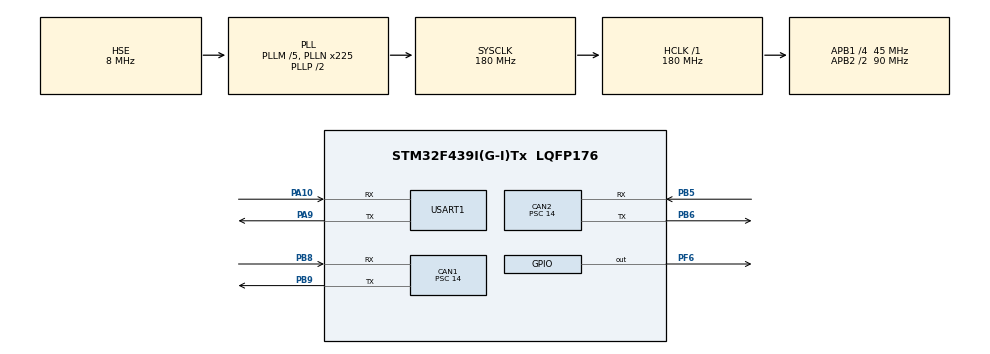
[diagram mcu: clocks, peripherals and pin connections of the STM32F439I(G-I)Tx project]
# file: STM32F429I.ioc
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CAN1.BS1=CAN_BS1_6TQ
CAN1.BS2=CAN_BS2_8TQ
CAN1.CalculateTimeBit=4666
CAN1.CalculateTimeQuantum=311.1111111111111
CAN1.Prescaler=14
CAN2.BS1=CAN_BS1_6TQ
CAN2.BS2=CAN_BS2_8TQ
CAN2.CalculateTimeBit=4666
CAN2.CalculateTimeQuantum=311.1111111111111
CAN2.Prescaler=14
Mcu.Family=STM32F4
Mcu.Name=STM32F439I(G-I)Tx
Mcu.Package=LQFP176
NVIC.PriorityGroup=NVIC_PRIORITYGROUP_4
PA10.Mode=Asynchronous
PA10.Signal=USART1_RX
PA9.Mode=Asynchronous
PA9.Signal=USART1_TX
PB5.Mode=Slave
PB5.Signal=CAN2_RX
PB6.Mode=Slave
PB6.Signal=CAN2_TX
PB8.Mode=Master
PB8.Signal=CAN1_RX
PB9.Mode=Master
PB9.Signal=CAN1_TX
PF6.Signal=GPIO_Output
PH0/OSC_IN.Mode=HSE-External-Oscillator
PH0/OSC_IN.Signal=RCC_OSC_IN
PH1/OSC_OUT.Mode=HSE-External-Oscillator
PH1/OSC_OUT.Signal=RCC_OSC_OUT
ProjectManager.TargetToolchain=MDK-ARM V5
RCC.48MHZClocksFreq_Value=90000000
RCC.AHBFreq_Value=180000000
RCC.APB1CLKDivider=RCC_HCLK_DIV4
RCC.APB1Freq_Value=45000000
RCC.APB1TimFreq_Value=90000000
RCC.APB2CLKDivider=RCC_HCLK_DIV2
RCC.APB2Freq_Value=90000000
RCC.APB2TimFreq_Value=180000000
RCC.CortexFreq_Value=180000000
RCC.HCLKFreq_Value=180000000
RCC.HSE_VALUE=8000000
RCC.HSI_VALUE=16000000
RCC.LSE_VALUE=32768
RCC.PLLM=5
RCC.PLLN=225
RCC.PLLSourceVirtual=RCC_PLLSOURCE_HSE
RCC.SYSCLKFreq_VALUE=180000000
RCC.SYSCLKSource=RCC_SYSCLKSOURCE_PLLCLK
RCC.VCOOutputFreq_Value=360000000
board=STM32F429I

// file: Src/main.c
/**
  ******************************************************************************
  * File Name          : main.c
  * Description        : Main program body
  ******************************************************************************
  *
  * COPYRIGHT(c) 2016 STMicroelectronics
  *
  * Redistribution and use in source and binary forms, with or without modification,
  * are permitted provided that the following conditions are met:
  *   1. Redistributions of source code must retain the above copyright notice,
  *      this list of conditions and the following disclaimer.
  *   2. Redistributions in binary form must reproduce the above copyright notice,
  *      this list of conditions and the following disclaimer in the documentation
  *      and/or other materials provided with the distribution.
  *   3. Neither the name of STMicroelectronics nor the names of its contributors
  *      may be used to endorse or promote products derived from this software
  *      without specific prior written permission.
  *
  * THIS SOFTWARE IS PROVIDED BY THE COPYRIGHT HOLDERS AND CONTRIBUTORS "AS IS"
  * AND ANY EXPRESS OR IMPLIED WARRANTIES, INCLUDING, BUT NOT LIMITED TO, THE
  * IMPLIED WARRANTIES OF MERCHANTABILITY AND FITNESS FOR A PARTICULAR PURPOSE ARE
  * DISCLAIMED. IN NO EVENT SHALL THE COPYRIGHT HOLDER OR CONTRIBUTORS BE LIABLE
  * FOR ANY DIRECT, INDIRECT, INCIDENTAL, SPECIAL, EXEMPLARY, OR CONSEQUENTIAL
  * DAMAGES (INCLUDING, BUT NOT LIMITED TO, PROCUREMENT OF SUBSTITUTE GOODS OR
  * SERVICES; LOSS OF USE, DATA, OR PROFITS; OR BUSINESS INTERRUPTION) HOWEVER
  * CAUSED AND ON ANY THEORY OF LIABILITY, WHETHER IN CONTRACT, STRICT LIABILITY,
  * OR TORT (INCLUDING NEGLIGENCE OR OTHERWISE) ARISING IN ANY WAY OUT OF THE USE
  * OF THIS SOFTWARE, EVEN IF ADVISED OF THE POSSIBILITY OF SUCH DAMAGE.
  *
  ******************************************************************************
  */
#include "stm32f4xx_hal.h"
#include "can.h"
#include "usart.h"
#include "gpio.h"

/* USER CODE BEGIN PV */
/* Private variables ---------------------------------------------------------*/
CAN_FilterConfTypeDef  sFilterConfig;
static CanTxMsgTypeDef        TxMessage;
static CanRxMsgTypeDef        RxMessage;
/* USER CODE END PV */

void SystemClock_Config(void);

/* USER CODE BEGIN PFP */
/* Private function prototypes -----------------------------------------------*/
static void Error_Handler(void);
/* USER CODE END PFP */

/* USER CODE BEGIN 0 */
/**
  * @brief  Retargets the C library printf function to the USART.
  * @param  None
  * @retval None
  */
int fputc(int ch, FILE *f)
{
  /* write a character to the uart1 and Loop until the end of transmission */
  HAL_UART_Transmit(&huart1, (uint8_t *)&ch, 1, 0xFFFF);

  return ch;
}

/* USER CODE END 0 */

int main(void)
{

  /* MCU Configuration----------------------------------------------------------*/

  /* Reset of all peripherals, Initializes the Flash interface and the Systick. */
  HAL_Init();

  /* Configure the system clock */
  SystemClock_Config();

  /* Initialize all configured peripherals */
  MX_GPIO_Init();
  MX_CAN1_Init();
  MX_CAN2_Init();
  MX_USART1_UART_Init();

  /* USER CODE BEGIN 2 */
	hcan2.pTxMsg = &TxMessage;
  hcan1.pRxMsg = &RxMessage;

	printf("**** This is CAN test program ****\r\n\r\n");

	/*##-1- Configure CAN2 Transmission Massage #####################################*/
	hcan2.pTxMsg->StdId = 0x123;
	hcan2.pTxMsg->RTR = CAN_RTR_DATA;
	hcan2.pTxMsg->IDE = CAN_ID_STD;
	hcan2.pTxMsg->DLC = 8;
	hcan2.pTxMsg->Data[0] = 'C';
	hcan2.pTxMsg->Data[1] = 'A';
	hcan2.pTxMsg->Data[2] = 'N';
	hcan2.pTxMsg->Data[3] = ' ';
	hcan2.pTxMsg->Data[4] = 'T';
	hcan2.pTxMsg->Data[5] = 'e';
	hcan2.pTxMsg->Data[6] = 's';
	hcan2.pTxMsg->Data[7] = 't';

  /*##-2- Configure the CAN1 Filter ###########################################*/
  sFilterConfig.FilterNumber = 0;
  sFilterConfig.FilterMode = CAN_FILTERMODE_IDMASK;
  sFilterConfig.FilterScale = CAN_FILTERSCALE_32BIT;
  sFilterConfig.FilterIdHigh = 0x0000;
  sFilterConfig.FilterIdLow = 0x0000;
  sFilterConfig.FilterMaskIdHigh = 0x0000;
  sFilterConfig.FilterMaskIdLow = 0x0000;
  sFilterConfig.FilterFIFOAssignment = 0;
  sFilterConfig.FilterActivation = ENABLE;
  sFilterConfig.BankNumber = 14;
	HAL_CAN_ConfigFilter(&hcan1, &sFilterConfig);

  /* USER CODE END 2 */

  /* Infinite loop */
  while (1)
  {

  /* USER CODE BEGIN 3 */

		/*##-3- Start the CAN2 Transmission process #####################################*/
		if(HAL_CAN_Transmit(&hcan2, 10) != HAL_OK)
		{
			/* Transmition Error */
			Error_Handler();
		}
		if(HAL_CAN_GetState(&hcan2) != HAL_CAN_STATE_READY)
		{
			Error_Handler();

		}
		/*##-4- Start the CAN1 Reception process ########################################*/
		if(HAL_CAN_Receive(&hcan1, CAN_FIFO0,10) != HAL_OK)
		{
			/* Reception Error */
			Error_Handler();
		}
		if(HAL_CAN_GetState(&hcan1) != HAL_CAN_STATE_READY)
		{
			Error_Handler();
		}
		printf("StdId : %x\r\n",hcan1.pRxMsg->StdId);
		printf("RxMsg : %s",hcan1.pRxMsg->Data);
		printf("\r\n\r\n");

		HAL_Delay(1000);
  }
  /* USER CODE END 3 */

}

/** System Clock Configuration
*/
void SystemClock_Config(void)
{

  RCC_OscInitTypeDef RCC_OscInitStruct;
  RCC_ClkInitTypeDef RCC_ClkInitStruct;

  __PWR_CLK_ENABLE();

  __HAL_PWR_VOLTAGESCALING_CONFIG(PWR_REGULATOR_VOLTAGE_SCALE1);

  RCC_OscInitStruct.OscillatorType = RCC_OSCILLATORTYPE_HSE;
  RCC_OscInitStruct.HSEState = RCC_HSE_ON;
  RCC_OscInitStruct.PLL.PLLState = RCC_PLL_ON;
  RCC_OscInitStruct.PLL.PLLSource = RCC_PLLSOURCE_HSE;
  RCC_OscInitStruct.PLL.PLLM = 5;
  RCC_OscInitStruct.PLL.PLLN = 225;
  RCC_OscInitStruct.PLL.PLLP = RCC_PLLP_DIV2;
  RCC_OscInitStruct.PLL.PLLQ = 4;
  HAL_RCC_OscConfig(&RCC_OscInitStruct);

  HAL_PWREx_ActivateOverDrive();

  RCC_ClkInitStruct.ClockType = RCC_CLOCKTYPE_SYSCLK|RCC_CLOCKTYPE_PCLK1
                              |RCC_CLOCKTYPE_PCLK2;
  RCC_ClkInitStruct.SYSCLKSource = RCC_SYSCLKSOURCE_PLLCLK;
  RCC_ClkInitStruct.AHBCLKDivider = RCC_SYSCLK_DIV1;
  RCC_ClkInitStruct.APB1CLKDivider = RCC_HCLK_DIV4;
  RCC_ClkInitStruct.APB2CLKDivider = RCC_HCLK_DIV2;
  HAL_RCC_ClockConfig(&RCC_ClkInitStruct, FLASH_LATENCY_5);

  HAL_SYSTICK_Config(HAL_RCC_GetHCLKFreq()/1000);

  HAL_SYSTICK_CLKSourceConfig(SYSTICK_CLKSOURCE_HCLK);

  /* SysTick_IRQn interrupt configuration */
  HAL_NVIC_SetPriority(SysTick_IRQn, 0, 0);
}

/* USER CODE BEGIN 4 */
/**
  * @brief  This function is executed in case of error occurrence.
  * @param  None
  * @retval None
  */
static void Error_Handler(void)
{
  /* Turn LED1 on */
  HAL_GPIO_WritePin(GPIOF, GPIO_PIN_6, GPIO_PIN_SET);
  while(1)
  {
  }
}
/* USER CODE END 4 */

/************************ (C) COPYRIGHT STMicroelectronics *****END OF FILE****/
